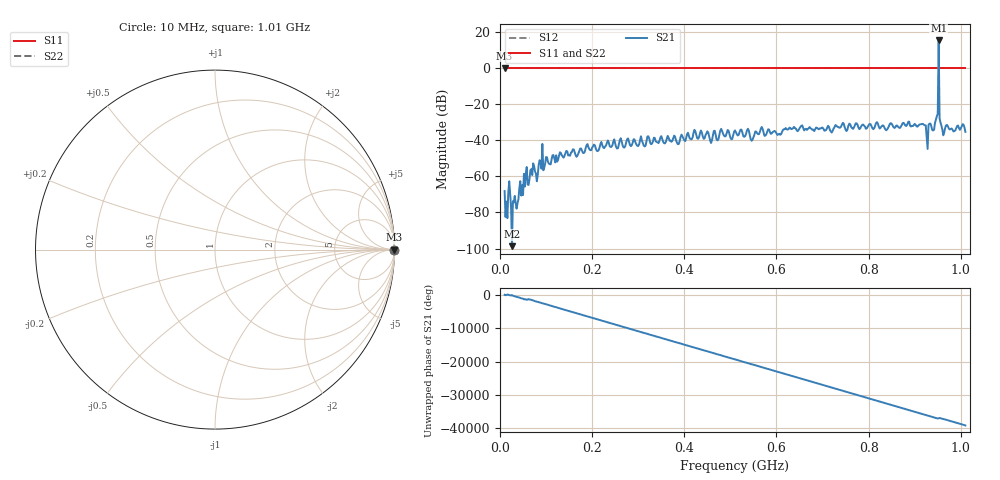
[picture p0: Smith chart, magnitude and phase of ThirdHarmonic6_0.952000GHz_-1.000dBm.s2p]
! 8/16/2025 6:54:54 AM
! C:\ANRITSUVNA\TEMP\TEMP.S2P
! CHANNEL.1
! TR.MEASUREMENT
! RAW.DATA
! RF.CORRECTION.OFF
! AVERAGING.OFF
! IF.BANDWIDTH: 5KHZ
! SWEEPTYPE:  FREQ.SWEEP(Linear)
! Reference Plane Port Info
! PORT:  PORT1  PORT2
! DISTANCE:  0  m  0  m
! TIME:  0  s  0  s
! PHASE.OFFSET:  0  deg.  0  deg.
! LOSS:  0  dB  0  dB
! REF.LOSS:  0  dB  0  dB
! REF.FREQ:  0  Hz  0  Hz
! Power Info
! POWER:  -20  dBm  -20  dBm
! EFF.POWER:  -20  dBm  -20  dBm
! SOURCE.ATTEN:  0  dB  0  dB
! TEST.ATTEN:  0  dB  0  dB
# GHZ S RI R 50.0
! FREQ.GHZ  S11RE  S11IM  S21RE  S21IM  S12RE  S12IM  S22RE  S22IM
!; PortSelection: Port_12
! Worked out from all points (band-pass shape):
!   501 points, 10 MHz to 1.01 GHz, reference 50 ohm
!   highest |S21| = 15.18 dB at 952 MHz (marker M1); lowest = -98.6 dB at 26 MHz (marker M2)
!   |S21| within 3 dB of the highest: 951.8524 MHz to 952.1388 MHz (286.4 kHz wide, 0.0301 % of centre)
!   lowest |S11| = 0.0 dB at 10 MHz (marker M3)
!   |S11| at or under -10 dB: nowhere
!   |S22| runs from 0.0 to 0.0 dB; largest |S21 - S12| = 5.4
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0.01  1 0  3.98e-05 0.00039  1 0  1 0
0.026  1 0  1.17e-05 -4e-07  1 0  1 0
0.038  1 0  -8.07e-05 0.000159  1 0  1 0
0.056  1 0  -0.000868 0.000795  1 0  1 0
0.07  1 0  9.76e-05 -0.00108  1 0  1 0
0.08  1 0  -0.000708 -0.000178  1 0  1 0
0.088  1 0  -0.00183 -0.0015  1 0  1 0
0.178  1 0  -0.00508 9.36e-05  1 0  1 0
0.344  1 0  0.00774 -0.003  1 0  1 0
0.51  1 0  -0.0117 0.0145  1 0  1 0
0.548  1 0  0.00713 0.00741  1 0  1 0
0.568  1 0  0.0156 -0.0172  1 0  1 0
0.678  1 0  -0.0192 -0.00323  1 0  1 0
0.844  1 0  0.0242 -0.00504  1 0  1 0
0.916  1 0  0.0167 -0.0226  1 0  1 0
0.926  1 0  0.000878 -0.0117  1 0  1 0
0.946  1 0  -0.0359 -0.0111  1 0  1 0
0.948  1 0  -0.0141 0.0436  1 0  1 0
0.952  1 0  2.174 5.316  1 0  1 0
0.956  1 0  -0.00086 0.0307  1 0  1 0
0.958  1 0  0.0247 0.00549  1 0  1 0
1.01  1 0  0.000642 0.017  1 0  1 0
